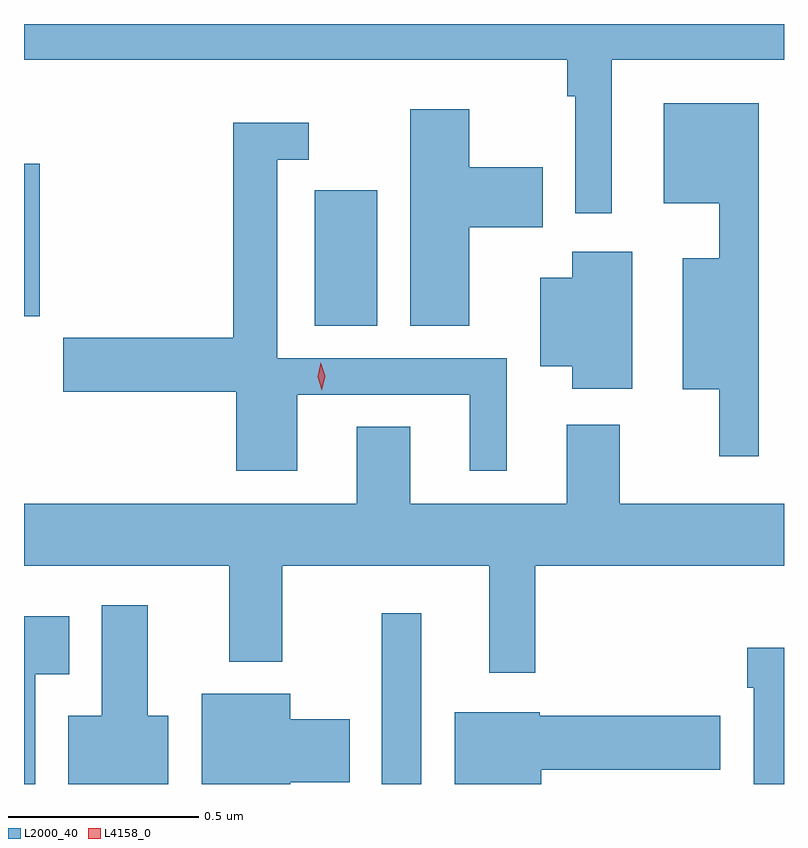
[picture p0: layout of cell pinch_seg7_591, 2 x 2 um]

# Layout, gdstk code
import gdstk
lib = gdstk.Library(unit=1e-6, precision=1e-09)
def R(c, l, rs):  # rectangles x0, y0, x1, y1
    for r in rs: c.add(gdstk.rectangle(r[:2], r[2:], *l))
def P(c, l, *ps):  # polygons
    for p in ps: c.add(gdstk.Polygon(p, *l))
L2000_40 = (2000, 40)
L4158_0 = (4158, 0)

pinch_seg7_591 = lib.new_cell('pinch_seg7_591')
R(pinch_seg7_591, L2000_40, [(134.873,1058.65,134.977,1059.1), (134.696,1059.856,134.86,1060.213), (133.931,1059.881,133.973,1060.282)])
P(pinch_seg7_591, L2000_40, [(135.478,1060.556),(135.931,1060.556),(135.931,1060.65),(133.931,1060.65),(133.931,1060.556),(135.361,1060.556),(135.361,1060.46),(135.381,1060.46),(135.381,1060.152),(135.478,1060.152)],
  [(135.865,1060.441),(135.614,1060.441),(135.614,1060.178),(135.761,1060.178),(135.761,1060.033),(135.665,1060.033),(135.665,1059.689),(135.761,1059.689),(135.761,1059.513),(135.865,1059.513)],
  [(135.103,1060.115),(135.296,1060.115),(135.296,1060.273),(135.103,1060.273),(135.103,1060.426),(134.948,1060.426),(134.948,1059.856),(135.103,1059.856)],
  [(134.65,1059.675),(135.104,1059.675),(135.104,1059.474),(135.202,1059.474),(135.202,1059.771),(134.598,1059.771),(134.598,1060.293),(134.68,1060.293),(134.68,1060.39),(134.482,1060.39),(134.482,1059.824),(134.034,1059.824),(134.034,1059.682),(134.489,1059.682),(134.489,1059.474),(134.65,1059.474)],
  [(135.532,1060.051),(135.374,1060.051),(135.374,1059.982),(135.29,1059.982),(135.29,1059.749),(135.374,1059.749),(135.374,1059.69),(135.532,1059.69)],
  [(135.277,1059.224),(135.931,1059.224),(135.931,1059.388),(135.499,1059.388),(135.499,1059.595),(135.359,1059.595),(135.359,1059.388),(134.947,1059.388),(134.947,1059.59),(134.807,1059.59),(134.807,1059.388),(133.931,1059.388),(133.931,1059.224),(134.471,1059.224),(134.471,1058.972),(134.611,1058.972),(134.611,1059.224),(135.155,1059.224),(135.155,1058.943),(135.277,1058.943)],
  [(134.311,1058.83),(134.257,1058.83),(134.257,1059.121),(134.135,1059.121),(134.135,1058.83),(134.048,1058.83),(134.048,1058.65),(134.311,1058.65)],
  [(133.96,1058.939),(134.05,1058.939),(134.05,1059.091),(133.931,1059.091),(133.931,1058.65),(133.96,1058.65)],
  [(135.931,1059.008),(135.834,1059.008),(135.834,1058.903),(135.851,1058.903),(135.851,1058.65),(135.931,1058.65)],
  [(134.632,1058.654),(134.788,1058.654),(134.788,1058.82),(134.632,1058.82),(134.632,1058.887),(134.399,1058.887),(134.399,1058.65),(134.632,1058.65)],
  [(135.292,1058.687),(135.763,1058.687),(135.763,1058.829),(135.288,1058.829),(135.288,1058.839),(135.065,1058.839),(135.065,1058.65),(135.292,1058.65)])
P(pinch_seg7_591, L4158_0, [(134.715,1059.686),(134.715,1059.687),(134.704,1059.722),(134.712,1059.759),(134.712,1059.759),(134.712,1059.759),(134.724,1059.723),(134.715,1059.687)])

lib.write_gds('pinch_seg7_591.gds')
